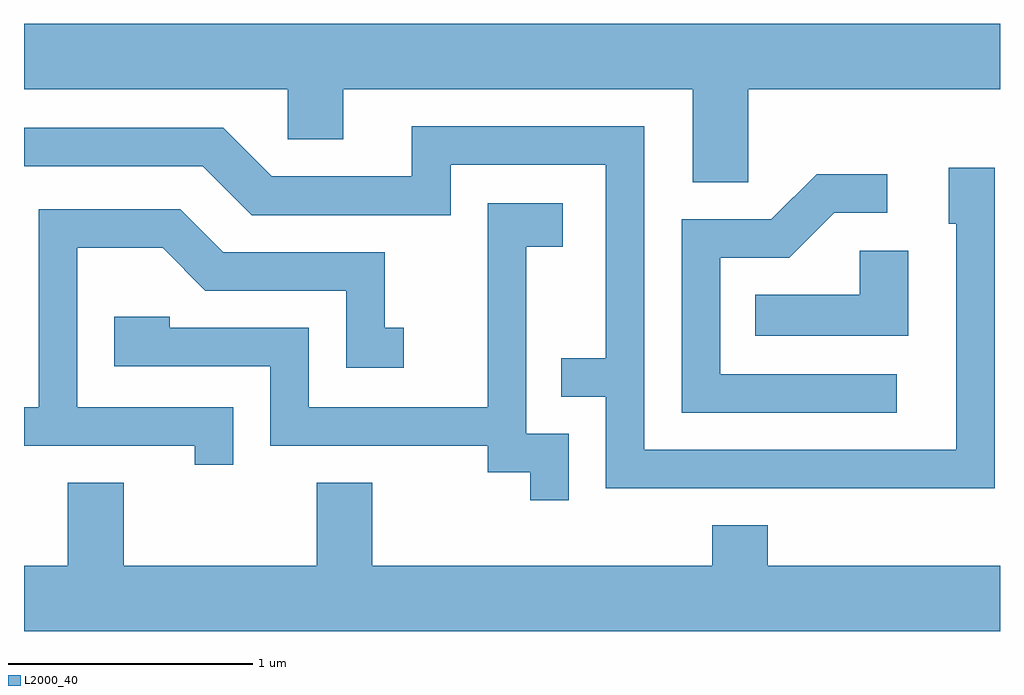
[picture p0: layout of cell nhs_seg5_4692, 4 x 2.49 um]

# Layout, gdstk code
import gdstk
lib = gdstk.Library(unit=1e-6, precision=1e-09)
def P(c, l, *ps):  # polygons
    for p in ps: c.add(gdstk.Polygon(p, *l))
L2000_40 = (2000, 40)

nhs_seg5_4692 = lib.new_cell('nhs_seg5_4692')
P(nhs_seg5_4692, L2000_40, [(326.579,1512.296),(327.611,1512.296),(327.611,1512.564),(323.611,1512.564),(323.611,1512.296),(324.691,1512.296),(324.691,1512.091),(324.919,1512.091),(324.919,1512.296),(326.351,1512.296),(326.351,1511.916),(326.579,1511.916)],
  [(327.589,1511.974),(327.401,1511.974),(327.401,1511.746),(327.431,1511.746),(327.431,1510.819),(326.154,1510.819),(326.154,1512.144),(325.201,1512.144),(325.201,1511.939),(324.627,1511.939),(324.427,1512.139),(323.611,1512.139),(323.611,1511.981),(324.344,1511.981),(324.544,1511.781),(325.359,1511.781),(325.359,1511.986),(325.996,1511.986),(325.996,1511.194),(325.813,1511.194),(325.813,1511.036),(325.996,1511.036),(325.996,1510.661),(327.589,1510.661)],
  [(327.188,1511.129),(326.464,1511.129),(326.464,1511.606),(326.747,1511.606),(326.932,1511.791),(327.148,1511.791),(327.148,1511.949),(326.859,1511.949),(326.674,1511.764),(326.306,1511.764),(326.306,1510.971),(327.188,1510.971)],
  [(325.844,1510.884),(325.669,1510.884),(325.669,1511.651),(325.819,1511.651),(325.819,1511.829),(325.511,1511.829),(325.511,1510.994),(324.779,1510.994),(324.779,1511.319),(324.209,1511.319),(324.209,1511.364),(323.981,1511.364),(323.981,1511.161),(324.621,1511.161),(324.621,1510.836),(325.511,1510.836),(325.511,1510.726),(325.686,1510.726),(325.686,1510.613),(325.844,1510.613)],
  [(324.469,1510.994),(323.829,1510.994),(323.829,1511.646),(324.179,1511.646),(324.354,1511.471),(324.931,1511.471),(324.931,1511.156),(325.168,1511.156),(325.168,1511.319),(325.089,1511.319),(325.089,1511.629),(324.427,1511.629),(324.252,1511.804),(323.671,1511.804),(323.671,1510.994),(323.611,1510.994),(323.611,1510.836),(324.311,1510.836),(324.311,1510.758),(324.469,1510.758)],
  [(327.234,1511.634),(327.036,1511.634),(327.036,1511.454),(326.608,1511.454),(326.608,1511.286),(327.234,1511.286)],
  [(327.611,1510.344),(326.659,1510.344),(326.659,1510.509),(326.431,1510.509),(326.431,1510.344),(325.039,1510.344),(325.039,1510.684),(324.811,1510.684),(324.811,1510.344),(324.019,1510.344),(324.019,1510.684),(323.791,1510.684),(323.791,1510.344),(323.611,1510.344),(323.611,1510.076),(327.611,1510.076)])

lib.write_gds('nhs_seg5_4692.gds')
